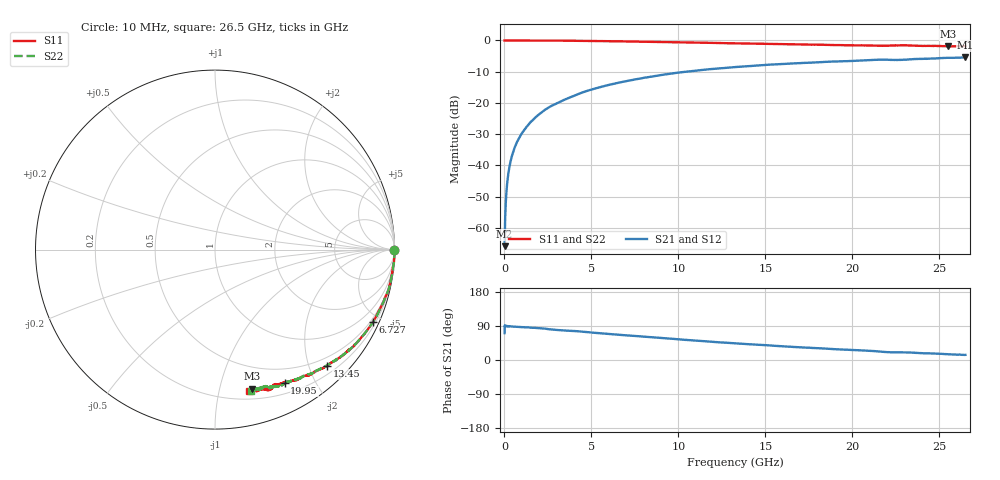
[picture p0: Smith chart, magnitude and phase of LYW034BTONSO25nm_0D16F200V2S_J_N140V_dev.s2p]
!Keysight Technologies,N5222B,MY61253708,A.15.00.15
!Date: Wednesday, June 19, 2024 10:03:56
!Correction: S11(C  2-Port  )
!S21(C  2-Port  )
!S12(C  2-Port  )
!S22(C  2-Port  )
!S2P File: Measurements: S11, S21, S12, S22:
# Hz S  RI  R 50
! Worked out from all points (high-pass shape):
!   2651 points, 10 MHz to 26.5 GHz, reference 50 ohm
!   highest |S21| = -5.41 dB at 26.5 GHz (marker M1); lowest = -65.9 dB at 10 MHz (marker M2)
!   |S21| within 3 dB of the highest: 13.56 GHz to end of sweep
!   lowest |S11| = -1.9 dB at 25.5 GHz (marker M3), VSWR 9.11, Z = 14.5 - j63 ohm
!   |S11| at or under -10 dB: nowhere
!   |S22| runs from -1.9 to 0.0 dB; largest |S21 - S12| = 0.0059
!   S11 on the Smith chart (normalised r, x): 10 MHz: open; 6.727 GHz: 0.36, -4.58; 13.45 GHz: 0.34, -2.31; 19.95 GHz: 0.32, -1.60; 26.5 GHz: 0.27, -1.23
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1e7  0.9985 -0.0026  0.000166 0.000481  5.94e-05 0.000332  0.9982 -0.00161
7.997358e7  0.9999 -0.00565  1.86e-05 0.00263  -1.52e-05 0.00261  0.9993 -0.00523
1.599434e8  1 -0.0112  6.66e-05 0.00526  6.5e-05 0.00528  0.9997 -0.0106
1.999283e8  1 -0.0134  0.000109 0.00656  8.39e-05 0.00658  0.9997 -0.0128
2.599057e8  0.9997 -0.0176  0.000166 0.00854  0.000171 0.00855  0.9996 -0.0169
3.598679e8  0.9996 -0.0244  0.000272 0.0118  0.000291 0.0119  0.9994 -0.0237
4.898189e8  0.9988 -0.0328  0.000502 0.016  0.00055 0.0161  0.9989 -0.0318
6.597547e8  0.9985 -0.0433  0.000889 0.0216  0.000864 0.0217  0.9986 -0.0426
8.49683e8  0.9981 -0.0559  0.00151 0.0277  0.0015 0.0278  0.9979 -0.0558
1.459453e9  0.991 -0.0972  0.00353 0.0479  0.00355 0.048  0.9933 -0.0936
2.329125e9  0.9824 -0.1502  0.00972 0.0769  0.00989 0.0773  0.9835 -0.1509
3.208792e9  0.9718 -0.2058  0.0207 0.103  0.0209 0.1035  0.9715 -0.2053
4.428332e9  0.9438 -0.2783  0.0376 0.1403  0.038 0.141  0.9452 -0.2759
6.727464e9  0.8809 -0.4012  0.0874 0.197  0.0884 0.1974  0.882 -0.4009
8.846664e9  0.8065 -0.4993  0.1429 0.2354  0.1441 0.2358  0.8076 -0.4983
1.3255e10  0.6322 -0.6403  0.2693 0.2605  0.2711 0.2601  0.6351 -0.6392
1.345492e10  0.6243 -0.6479  0.2749 0.2606  0.2767 0.2593  0.6251 -0.6444
1.767333e10  0.4615 -0.7214  0.3756 0.2339  0.3784 0.232  0.4705 -0.7189
1.995247e10  0.3881 -0.7425  0.4195 0.2099  0.4216 0.2076  0.4006 -0.7391
2.209166e10  0.3262 -0.7558  0.4587 0.1727  0.46 0.1695  0.3187 -0.7615
2.550038e10  0.2069 -0.7751  0.5084 0.1368  0.5093 0.136  0.2261 -0.7768
2.65e10  0.1872 -0.7888  0.5217 0.1254  0.5208 0.1216  0.1998 -0.7865
